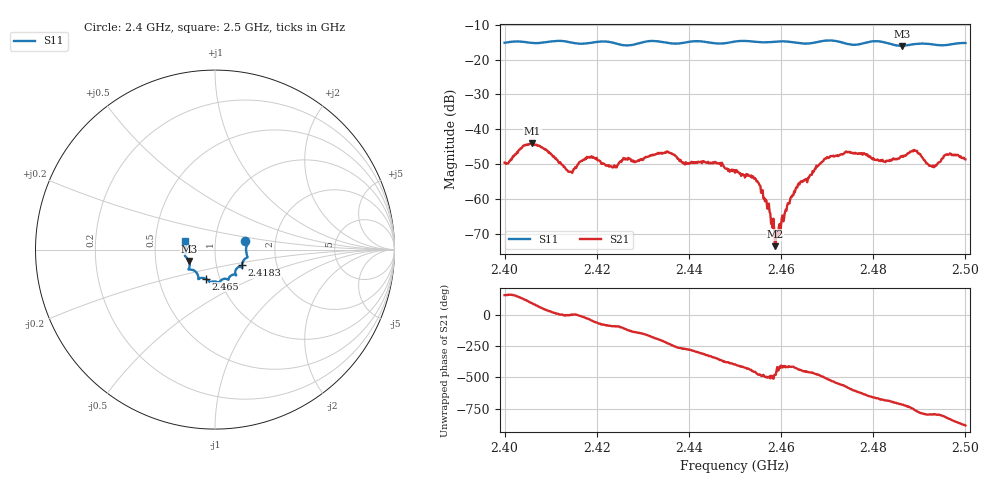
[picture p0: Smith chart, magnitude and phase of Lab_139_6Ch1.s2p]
# Hz S RI R 50
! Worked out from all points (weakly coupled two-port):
!   601 points, 2.4 GHz to 2.5 GHz, reference 50 ohm
!   highest |S21| = -44.07 dB at 2.406 GHz (marker M1); lowest = -73.6 dB at 2.4587 GHz (marker M2)
!   lowest |S11| = -16.0 dB at 2.4862 GHz (marker M3), VSWR 1.38, Z = 37.1 - j4.83 ohm
!   |S11| at or under -10 dB: start of sweep to end of sweep
!   S12 and S22 are empty: the file has one direction only
!   S11 on the Smith chart (normalised r, x): 2.4 GHz: 1.40, +0.13; 2.4183 GHz: 1.33, -0.24; 2.465 GHz: 0.86, -0.29; 2.5 GHz: 0.71, +0.07
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2.4e9  0.1689 0.0459  -0.00302 0.00136  0 0  0 0
2.406e9  0.1738 0.00877  -8.85e-05 0.00626  0 0  0 0
2.414167e9  0.1714 -0.0478  0.00245 -0.000198  0 0  0 0
2.416667e9  0.1551 -0.0682  0.00344 -0.000769  0 0  0 0
2.418333e9  0.15 -0.0869  0.00326 -0.00231  0 0  0 0
2.423833e9  0.1438 -0.0967  -4.37e-05 -0.00304  0 0  0 0
2.433333e9  0.1166 -0.1412  -0.00441 0.00127  0 0  0 0
2.45e9  0.0254 -0.1805  0.00194 -0.00137  0 0  0 0
2.455e9  0.00746 -0.1789  -0.000798 -0.00154  0 0  0 0
2.458667e9  -0.0222 -0.18  -0.000109 -0.000179  0 0  0 0
2.459167e9  -0.0247 -0.1808  0.000184 -0.000293  0 0  0 0
2.463333e9  -0.0381 -0.1708  0.000588 -0.00136  0 0  0 0
2.465e9  -0.0526 -0.162  1.55e-05 -0.00183  0 0  0 0
2.466667e9  -0.0712 -0.1576  -0.000499 -0.00216  0 0  0 0
2.469667e9  -0.0917 -0.164  -0.00317 -0.00209  0 0  0 0
2.474333e9  -0.0973 -0.1379  -0.00367 0.00287  0 0  0 0
2.483333e9  -0.1422 -0.096  0.00296 0.00194  0 0  0 0
2.486167e9  -0.1448 -0.0635  0.00408 0.000261  0 0  0 0
2.489e9  -0.1627 -0.0406  0.00388 -0.00313  0 0  0 0
2.492833e9  -0.1642 -0.0208  0.000783 -0.00278  0 0  0 0
2.496167e9  -0.1621 0.0182  -0.00113 -0.0042  0 0  0 0
2.5e9  -0.1669 0.0473  -0.00353 -0.00112  0 0  0 0
